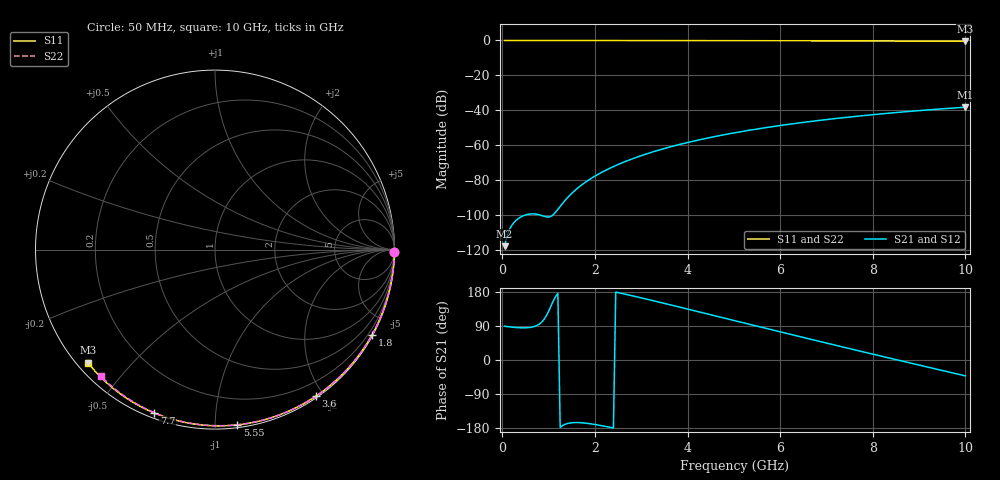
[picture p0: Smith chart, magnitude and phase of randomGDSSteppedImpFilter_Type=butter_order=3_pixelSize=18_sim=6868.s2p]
! freq	dB(S11)	phase(S11)	dB(S12)	phase(S12)
!  dB(S21)	phase(S21)	dB(S22)	phase(S22)
!S-par simulation data
#  GHz  S  DB  R 50
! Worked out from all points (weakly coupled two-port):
!   200 points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, 50 MHz to 10 GHz, reference 50 ohm
!   highest |S21| = -38.16 dB at 10 GHz (marker M1); lowest = -117.6 dB at 50 MHz (marker M2)
!   lowest |S11| = -0.5 dB at 10 GHz (marker M3), VSWR 36.96, Z = 1.55 - j19 ohm
!   |S11| at or under -10 dB: nowhere
!   |S22| runs from -0.4 to 0.0 dB; largest |S21 - S12| = 0
!   S11 on the Smith chart (normalised r, x): 50 MHz: open; 1.8 GHz: 0.03, -3.95; 3.6 GHz: 0.02, -1.90; 5.55 GHz: 0.02, -1.14; 7.7 GHz: 0.02, -0.69; 10 GHz: 0.03, -0.38
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0.05  -0.00 -0.8  -117.62 89.1  -117.62 89.1  -0.00 -0.8
0.45  -0.01 -7.2  -100.26 84.8  -100.26 84.8  -0.01 -6.9
0.9  -0.02 -14.3  -100.55 106.9  -100.55 106.9  -0.02 -13.7
1.75  -0.04 -27.6  -81.91 -166.0  -81.91 -166.0  -0.03 -26.3
1.8  -0.04 -28.4  -80.96 -166.7  -80.96 -166.7  -0.03 -27.1
1.85  -0.04 -29.2  -80.06 -167.4  -80.06 -167.4  -0.04 -27.8
2.15  -0.04 -33.8  -75.35 -173.4  -75.35 -173.4  -0.04 -32.2
2.35  -0.05 -36.8  -72.71 -178.2  -72.71 -178.2  -0.05 -35.1
2.55  -0.05 -39.8  -70.36 176.5  -70.36 176.5  -0.05 -38.0
2.95  -0.06 -45.9  -66.32 165.4  -66.32 165.4  -0.06 -43.7
3.4  -0.07 -52.5  -62.53 152.3  -62.53 152.3  -0.07 -50.1
3.6  -0.07 -55.4  -61.04 146.4  -61.04 146.4  -0.07 -52.9
3.9  -0.08 -59.8  -58.99 137.5  -58.99 137.5  -0.08 -57.1
4.3  -0.09 -65.5  -56.54 125.5  -56.54 125.5  -0.09 -62.5
5.05  -0.12 -75.9  -52.64 102.9  -52.64 102.9  -0.11 -72.5
5.55  -0.14 -82.7  -50.42 87.8  -50.42 87.8  -0.13 -79.0
6.1  -0.16 -90.0  -48.26 71.4  -48.26 71.4  -0.15 -86.0
6.7  -0.19 -97.8  -46.18 53.5  -46.18 53.5  -0.18 -93.4
7.7  -0.25 -110.4  -43.22 24.2  -43.22 24.2  -0.24 -105.5
8.35  -0.30 -118.4  -41.57 5.3  -41.57 5.3  -0.29 -113.1
9.2  -0.38 -128.7  -39.69 -19.1  -39.69 -19.1  -0.36 -122.9
10  -0.47 -138.4  -38.16 -41.9  -38.16 -41.9  -0.45 -132.0
